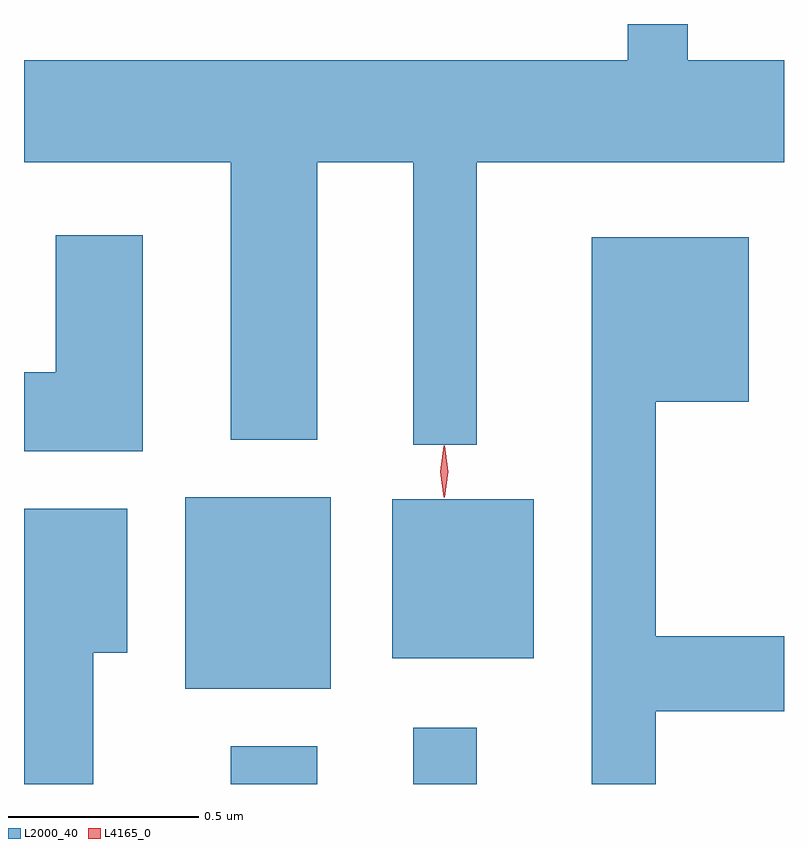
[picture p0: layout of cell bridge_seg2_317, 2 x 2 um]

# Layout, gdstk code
import gdstk
lib = gdstk.Library(unit=1e-6, precision=1e-09)
def R(c, l, rs):  # rectangles x0, y0, x1, y1
    for r in rs: c.add(gdstk.rectangle(r[:2], r[2:], *l))
def P(c, l, *ps):  # polygons
    for p in ps: c.add(gdstk.Polygon(p, *l))
L2000_40 = (2000, 40)
L4165_0 = (4165, 0)

bridge_seg2_317 = lib.new_cell('bridge_seg2_317')
R(bridge_seg2_317, L2000_40, [(441.311,1060,441.539,1060.099), (441.791,1060,441.959,1060.148), (441.191,1060.251,441.574,1060.754), (441.736,1060.331,442.109,1060.749)])
P(bridge_seg2_317, L2000_40, [(441.959,1061.636),(442.767,1061.636),(442.767,1061.904),(442.514,1061.904),(442.514,1062),(442.356,1062),(442.356,1061.904),(440.767,1061.904),(440.767,1061.636),(441.311,1061.636),(441.311,1060.906),(441.539,1060.906),(441.539,1061.636),(441.791,1061.636),(441.791,1060.893),(441.959,1060.893)],
  [(441.079,1061.444),(440.851,1061.444),(440.851,1061.084),(440.767,1061.084),(440.767,1060.876),(441.079,1060.876)],
  [(442.429,1060.191),(442.767,1060.191),(442.767,1060.389),(442.429,1060.389),(442.429,1061.006),(442.674,1061.006),(442.674,1061.439),(442.261,1061.439),(442.261,1060),(442.429,1060)],
  [(440.949,1060.346),(441.039,1060.346),(441.039,1060.724),(440.767,1060.724),(440.767,1060),(440.949,1060)])
P(bridge_seg2_317, L4165_0, [(441.872,1060.754),(441.863,1060.822),(441.872,1060.89),(441.873,1060.89),(441.874,1060.89),(441.883,1060.822),(441.874,1060.754),(441.873,1060.754)],
  [(441.872,1060.758),(441.863,1060.822),(441.872,1060.886),(441.873,1060.887),(441.874,1060.886),(441.883,1060.822),(441.874,1060.758),(441.873,1060.758)])

lib.write_gds('bridge_seg2_317.gds')
